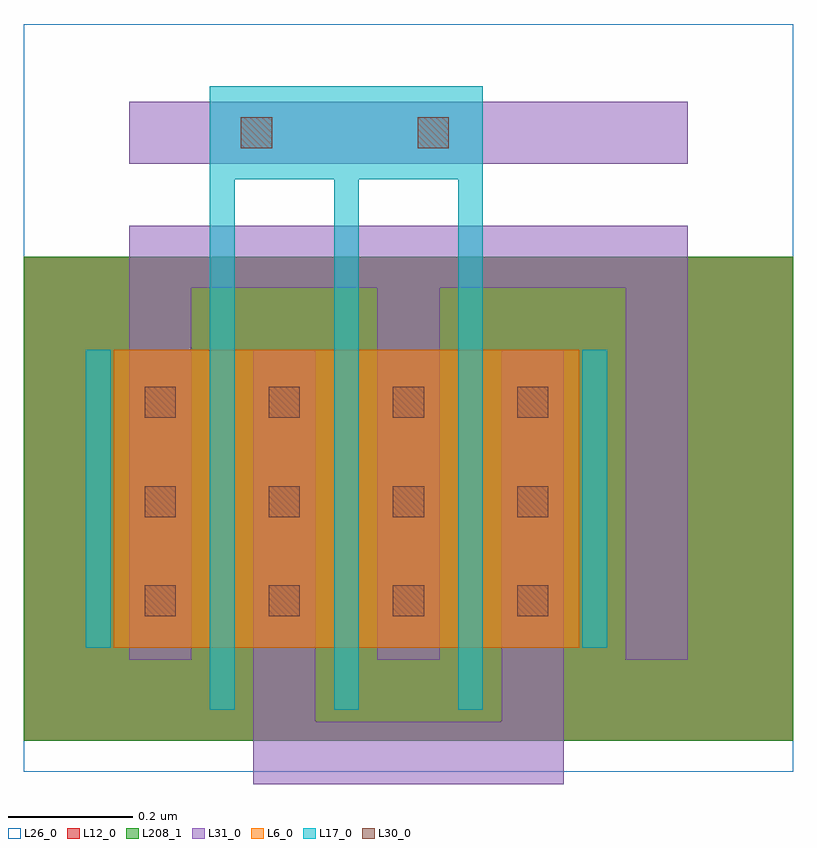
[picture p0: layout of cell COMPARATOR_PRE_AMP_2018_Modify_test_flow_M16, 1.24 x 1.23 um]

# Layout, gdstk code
import gdstk
lib = gdstk.Library(unit=1e-6, precision=1e-09)
def R(c, l, rs):  # rectangles x0, y0, x1, y1
    for r in rs: c.add(gdstk.rectangle(r[:2], r[2:], *l))
def A(c, l, x, y, w, h, nx, ny, dx, dy):  # array of equal rectangles
    R(c, l, [(x+i*dx, y+j*dy, x+i*dx+w, y+j*dy+h) for i in range(nx) for j in range(ny)])
L6_0 = (6, 0)
L12_0 = (12, 0)
L17_0 = (17, 0)
L26_0 = (26, 0)
L30_0 = (30, 0)
L31_0 = (31, 0)
L208_1 = (208, 1)

comparator_pre_amp_2018_ = lib.new_cell('COMPARATOR_PRE_AMP_2018_Modify_test_flow_M16')
R(comparator_pre_amp_2018_, L6_0, [(-0.075,-0.03,0.675,0.45)])
R(comparator_pre_amp_2018_, L12_0, [(-0.22,-0.18,1.02,0.6)])
A(comparator_pre_amp_2018_, L17_0, 0.08, -0.13, 0.04, 0.68, 3, 1, 0.2, 0)
A(comparator_pre_amp_2018_, L17_0, 0.08, 0.45, 0.04, 0.3, 3, 1, 0.2, 0)
R(comparator_pre_amp_2018_, L17_0, [(-0.12,-0.03,-0.08,0.45), (0.68,-0.03,0.72,0.45), (0.08,0.725,0.52,0.875)])
R(comparator_pre_amp_2018_, L26_0, [(-0.22,-0.23,1.02,0.975)])
A(comparator_pre_amp_2018_, L30_0, -0.025, 0.02, 0.05, 0.05, 4, 3, 0.2, 0.16)
R(comparator_pre_amp_2018_, L30_0, [(0.13,0.775,0.18,0.825), (0.415,0.775,0.465,0.825)])
A(comparator_pre_amp_2018_, L31_0, -0.05, -0.05, 0.1, 0.5, 5, 1, 0.2, 0)
A(comparator_pre_amp_2018_, L31_0, -0.05, -0.03, 0.1, 0.48, 4, 1, 0.2, 0)
A(comparator_pre_amp_2018_, L31_0, -0.05, 0.45, 0.1, 0.1, 3, 1, 0.4, 0)
R(comparator_pre_amp_2018_, L31_0, [(0.15,-0.25,0.65,-0.15), (0.15,-0.15,0.25,-0.05), (0.55,-0.15,0.65,-0.05), (-0.05,0.55,0.85,0.65), (-0.05,0.75,0.85,0.85), (0.08,0.75,0.52,0.85)])
R(comparator_pre_amp_2018_, L208_1, [(-0.22,-0.18,1.02,0.6)])

lib.write_gds('COMPARATOR_PRE_AMP_2018_Modify_test_flow_M16.gds')
